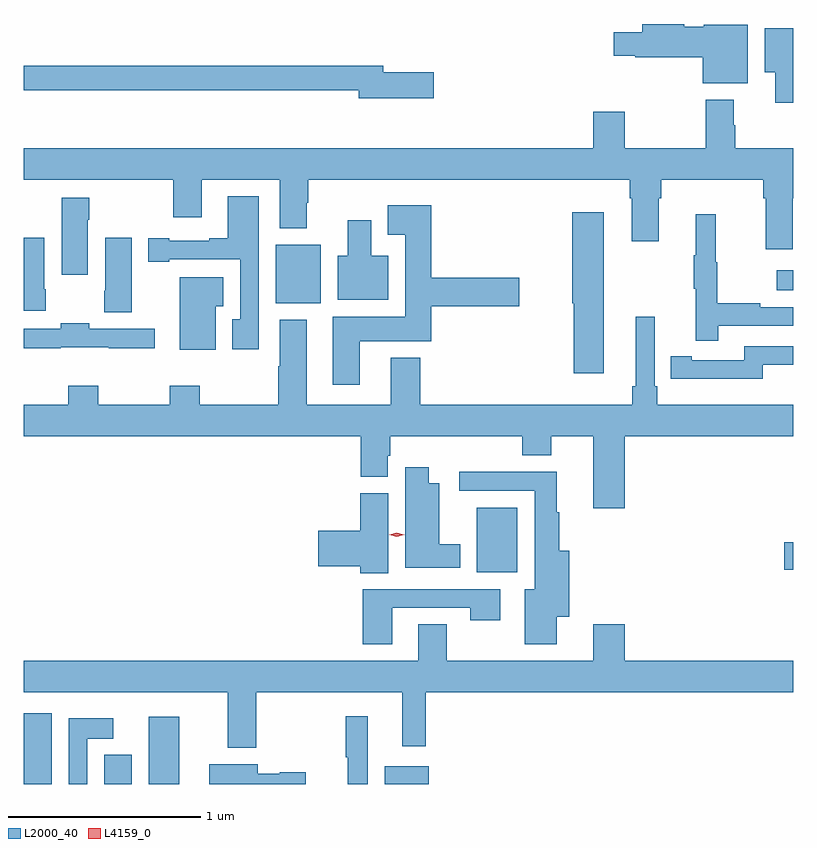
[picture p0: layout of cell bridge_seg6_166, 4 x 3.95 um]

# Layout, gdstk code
import gdstk
lib = gdstk.Library(unit=1e-6, precision=1e-09)
def R(c, l, rs):  # rectangles x0, y0, x1, y1
    for r in rs: c.add(gdstk.rectangle(r[:2], r[2:], *l))
def P(c, l, *ps):  # polygons
    for p in ps: c.add(gdstk.Polygon(p, *l))
L2000_40 = (2000, 40)
L4159_0 = (4159, 0)

bridge_seg6_166 = lib.new_cell('bridge_seg6_166')
R(bridge_seg6_166, L2000_40, [(198.012,965.508,198.157,965.875), (198.431,965.508,198.574,965.659), (198.662,965.508,198.82,965.857), (199.889,965.508,200.116,965.599), (200.366,966.608,200.578,966.943), (201.966,966.622,202.012,966.764), (199.322,968.006,199.555,968.311), (201.927,968.075,202.012,968.179)])
P(bridge_seg6_166, L2000_40, [(201.775,969.454),(201.546,969.454),(201.546,969.445),(201.446,969.445),(201.446,969.458),(201.227,969.458),(201.227,969.415),(201.078,969.415),(201.078,969.293),(201.19,969.293),(201.19,969.286),(201.542,969.286),(201.542,969.149),(201.775,969.149)],
  [(202.012,969.436),(201.863,969.436),(201.863,969.206),(201.917,969.206),(201.917,969.048),(202.012,969.048)],
  [(200.143,969.206),(199.882,969.206),(199.882,969.242),(198.012,969.242),(198.012,969.114),(199.754,969.114),(199.754,969.071),(200.143,969.071)],
  [(202.009,968.552),(202.012,968.552),(202.012,968.812),(201.711,968.812),(201.711,968.933),(201.703,968.933),(201.703,969.064),(201.556,969.064),(201.556,968.812),(201.136,968.812),(201.136,969.001),(200.972,969.001),(200.972,968.812),(198.012,968.812),(198.012,968.648),(198.79,968.648),(198.79,968.454),(198.937,968.454),(198.937,968.648),(199.343,968.648),(199.343,968.396),(199.483,968.396),(199.483,968.528),(199.491,968.528),(199.491,968.648),(201.161,968.648),(201.161,968.552),(201.173,968.552),(201.173,968.328),(201.313,968.328),(201.313,968.552),(201.326,968.552),(201.326,968.648),(201.857,968.648),(201.857,968.552),(201.869,968.552),(201.869,968.286),(202.009,968.286)],
  [(199.233,968.338),(199.234,968.338),(199.234,968.563),(199.073,968.563),(199.073,968.344),(198.977,968.344),(198.977,968.331),(198.769,968.331),(198.769,968.344),(198.659,968.344),(198.659,968.223),(198.769,968.223),(198.769,968.235),(199.137,968.235),(199.137,967.923),(199.097,967.923),(199.097,967.767),(199.233,967.767)],
  [(198.346,968.441),(198.354,968.441),(198.354,968.554),(198.209,968.554),(198.209,968.154),(198.346,968.154)],
  [(199.759,967.808),(200.129,967.808),(200.129,967.991),(200.587,967.991),(200.587,968.138),(200.129,968.138),(200.129,968.515),(199.904,968.515),(199.904,968.363),(199.994,968.363),(199.994,967.936),(199.619,967.936),(199.619,967.584),(199.759,967.584)],
  [(201.028,968.479),(200.864,968.479),(200.864,968.007),(200.87,968.007),(200.87,967.644),(201.028,967.644)],
  [(201.623,967.89),(202.012,967.89),(202.012,967.986),(201.839,967.986),(201.839,968.006),(201.616,968.006),(201.616,968.22),(201.608,968.22),(201.608,968.47),(201.506,968.47),(201.506,968.257),(201.495,968.257),(201.495,968.083),(201.506,968.083),(201.506,967.812),(201.623,967.812)],
  [(199.906,968.254),(199.819,968.254),(199.819,968.437),(199.697,968.437),(199.697,968.254),(199.643,968.254),(199.643,968.024),(199.906,968.024)],
  [(198.126,968.08),(198.118,968.08),(198.118,968.347),(198.012,968.347),(198.012,967.968),(198.126,967.968)],
  [(198.574,968.347),(198.437,968.347),(198.437,968.071),(198.43,968.071),(198.43,967.96),(198.574,967.96)],
  [(199.009,967.991),(199.048,967.991),(199.048,968.143),(198.824,968.143),(198.824,967.766),(199.009,967.766)],
  [(201.136,967.316),(202.012,967.316),(202.012,967.48),(201.305,967.48),(201.305,967.576),(201.291,967.576),(201.291,967.936),(201.194,967.936),(201.194,967.576),(201.175,967.576),(201.175,967.48),(200.072,967.48),(200.072,967.723),(199.919,967.723),(199.919,967.48),(199.483,967.48),(199.483,967.921),(199.343,967.921),(199.343,967.679),(199.336,967.679),(199.336,967.48),(198.927,967.48),(198.927,967.579),(198.772,967.579),(198.772,967.48),(198.399,967.48),(198.399,967.579),(198.244,967.579),(198.244,967.48),(198.012,967.48),(198.012,967.316),(199.763,967.316),(199.763,967.105),(199.903,967.105),(199.903,967.215),(199.916,967.215),(199.916,967.316),(200.603,967.316),(200.603,967.217),(200.755,967.217),(200.755,967.316),(200.972,967.316),(200.972,966.942),(201.136,966.942)],
  [(198.204,967.778),(198.454,967.778),(198.454,967.774),(198.694,967.774),(198.694,967.875),(198.354,967.875),(198.354,967.903),(198.204,967.903),(198.204,967.875),(198.012,967.875),(198.012,967.774),(198.204,967.774)],
  [(201.852,967.686),(202.012,967.686),(202.012,967.782),(201.756,967.782),(201.756,967.71),(201.484,967.71),(201.484,967.73),(201.376,967.73),(201.376,967.614),(201.484,967.614),(201.484,967.613),(201.852,967.613)],
  [(200.281,966.754),(200.173,966.754),(200.173,967.072),(200.116,967.072),(200.116,967.153),(199.994,967.153),(199.994,966.632),(200.281,966.632)],
  [(200.782,966.377),(200.848,966.377),(200.848,966.721),(200.795,966.721),(200.795,966.921),(200.782,966.921),(200.782,967.13),(200.277,967.13),(200.277,967.032),(200.669,967.032),(200.669,966.52),(200.615,966.52),(200.615,966.234),(200.782,966.234)],
  [(199.906,967.02),(199.76,967.02),(199.76,966.824),(199.542,966.824),(199.542,966.641),(199.76,966.641),(199.76,966.604),(199.906,966.604)],
  [(199.927,966.423),(200.332,966.423),(200.332,966.36),(200.488,966.36),(200.488,966.519),(199.775,966.519),(199.775,966.234),(199.927,966.234)],
  [(199.221,965.984),(199.979,965.984),(199.979,965.703),(200.101,965.703),(200.101,965.984),(202.012,965.984),(202.012,966.148),(201.136,966.148),(201.136,966.337),(200.972,966.337),(200.972,966.148),(200.211,966.148),(200.211,966.338),(200.063,966.338),(200.063,966.148),(198.012,966.148),(198.012,965.984),(199.073,965.984),(199.073,965.696),(199.221,965.696)],
  [(199.801,965.86),(199.687,965.86),(199.687,965.647),(199.697,965.647),(199.697,965.508),(199.801,965.508)],
  [(198.342,965.744),(198.478,965.744),(198.478,965.851),(198.246,965.851),(198.246,965.508),(198.342,965.508)],
  [(199.477,965.568),(199.344,965.568),(199.344,965.56),(199.228,965.56),(199.228,965.611),(198.977,965.611),(198.977,965.508),(199.477,965.508)])
P(bridge_seg6_166, L4159_0, [(199.951,966.794),(199.912,966.804),(199.912,966.804),(199.912,966.804),(199.951,966.814),(199.99,966.804),(199.99,966.804),(199.99,966.804)])

lib.write_gds('bridge_seg6_166.gds')
